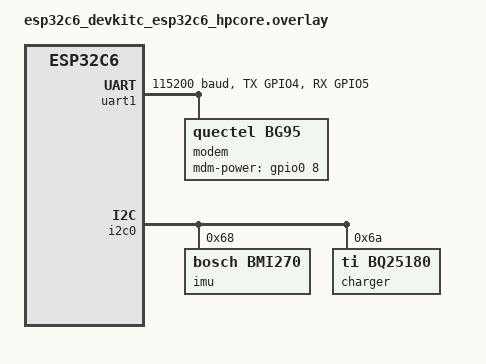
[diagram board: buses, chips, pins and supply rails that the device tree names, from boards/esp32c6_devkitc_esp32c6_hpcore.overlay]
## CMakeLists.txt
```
# tracker firmware skeleton — G4 proof: the SDHR's devicetree compiles and
# the application builds against it. Route 2: ESP32-C6 + BG95 + BMI270 + BQ25180.
cmake_minimum_required(VERSION 3.20.0)
find_package(Zephyr REQUIRED HINTS $ENV{ZEPHYR_BASE})
project(tracker)
target_sources(app PRIVATE src/main.c)
```

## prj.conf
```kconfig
# Iteration 1: buses + sensor + charger. The modem NODE is in the
# devicetree (the contract); its software stack (CONFIG_MODEM_CELLULAR +
# PPP) is iteration 2 — dts truth first, protocol stacks after.
CONFIG_GPIO=y
CONFIG_I2C=y
CONFIG_SERIAL=y
CONFIG_SENSOR=y
CONFIG_CHARGER=y
CONFIG_LOG=y
```

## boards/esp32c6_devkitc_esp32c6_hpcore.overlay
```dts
/*
 * tracker virtual-board contract — Route 2 on esp32c6_devkitc.
 * Every node below cites a catalog record (all D2 @ zephyr 413b789d):
 *   modem   -> catalog/components/quectel,bg95.yaml   (cellular + GNSS module)
 *   imu     -> catalog/components/bosch,bmi270.yaml   (wake-on-motion)
 *   charger -> catalog/components/ti,bq25180.yaml     (USB-C 1-cell Li-ion)
 * Pin choices are provisional (P5 owns final pin/RF placement).
 */
#include <zephyr/dt-bindings/gpio/gpio.h>
#include <zephyr/dt-bindings/pinctrl/esp-pinctrl-common.h>
#include <dt-bindings/pinctrl/esp32c6-pinctrl.h>
#include <zephyr/dt-bindings/pinctrl/esp32c6-gpio-sigmap.h>

&pinctrl {
	uart1_modem: uart1_modem {
		group1 {
			pinmux = <UART1_TX_GPIO4>;
			output-high;
		};
		group2 {
			pinmux = <UART1_RX_GPIO5>;
			bias-pull-up;
		};
	};
};

&uart1 {
	status = "okay";
	current-speed = <115200>;
	pinctrl-0 = <&uart1_modem>;
	pinctrl-names = "default";

	modem: modem {
		compatible = "quectel,bg95";
		mdm-power-gpios = <&gpio0 8 GPIO_ACTIVE_HIGH>;
	};
};

&i2c0 {
	status = "okay";

	imu: bmi270@68 {
		compatible = "bosch,bmi270";
		reg = <0x68>;
	};

	charger: bq25180@6a {
		compatible = "ti,bq25180";
		reg = <0x6a>;
		constant-charge-current-max-microamp = <500000>;
	};
};
```

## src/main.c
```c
/* tracker iteration 1 — prove the contract: every catalog-cited device
 * node resolves to a ready driver instance. FAIL-NOT-SKIP at runtime:
 * a device that is not ready is reported, never ignored. */
#include <zephyr/kernel.h>
#include <zephyr/device.h>

static const struct device *const imu = DEVICE_DT_GET(DT_NODELABEL(imu));
static const struct device *const charger = DEVICE_DT_GET(DT_NODELABEL(charger));

int main(void)
{
	printk("tracker fw skeleton — Route 2 (esp32c6 + bg95 + bmi270 + bq25180)\n");
	printk("imu (bmi270):      %s\n", device_is_ready(imu) ? "ready" : "NOT READY");
	printk("charger (bq25180): %s\n", device_is_ready(charger) ? "ready" : "NOT READY");
	/* modem node present in dts; software stack lands in iteration 2 */
	return 0;
}
```
